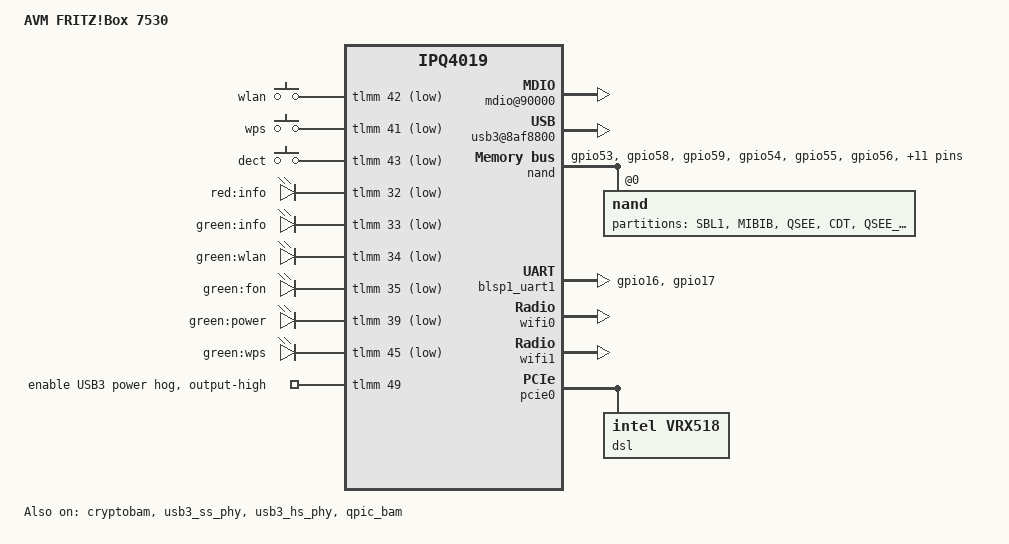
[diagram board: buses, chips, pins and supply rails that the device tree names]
// SPDX-License-Identifier: GPL-2.0-or-later OR MIT

#include "qcom-ipq4019.dtsi"
#include <dt-bindings/gpio/gpio.h>
#include <dt-bindings/input/input.h>
#include <dt-bindings/soc/qcom,tcsr.h>

/ {
	model = "AVM FRITZ!Box 7530";
	compatible = "avm,fritzbox-7530";

	aliases {
		led-boot = &power_green;
		led-failsafe = &info_red;
		led-running = &power_green;
		led-upgrade = &info_green;
	};

	soc {
		rng@22000 {
			status = "okay";
		};

		mdio@90000 {
			status = "okay";
		};

		ess-psgmii@98000 {
			status = "okay";
		};

		tcsr@1949000 {
			compatible = "qcom,tcsr";
			reg = <0x1949000 0x100>;
			qcom,wifi_glb_cfg = <TCSR_WIFI_GLB_CFG>;
		};

		tcsr@194b000 {
			compatible = "qcom,tcsr";
			reg = <0x194b000 0x100>;
			qcom,usb-hsphy-mode-select = <TCSR_USB_HSPHY_HOST_MODE>;
		};

		ess_tcsr@1953000 {
			compatible = "qcom,tcsr";
			reg = <0x1953000 0x1000>;
			qcom,ess-interface-select = <TCSR_ESS_PSGMII>;
		};

		tcsr@1957000 {
			compatible = "qcom,tcsr";
			reg = <0x1957000 0x100>;
			qcom,wifi_noc_memtype_m0_m2 = <TCSR_WIFI_NOC_MEMTYPE_M0_M2>;
		};

		usb3@8af8800 {
			status = "okay";
		};

		crypto@8e3a000 {
			status = "okay";
		};

		watchdog@b017000 {
			status = "okay";
		};

		ess-switch@c000000 {
			status = "okay";
		};

		edma@c080000 {
			status = "okay";
			qcom,num_gmac = <1>;
		};
	};

	keys {
		compatible = "gpio-keys";

		wlan {
			label = "wlan";
			gpios = <&tlmm 42 GPIO_ACTIVE_LOW>;
			linux,code = <KEY_RFKILL>;
		};

		wps {
			label = "wps";
			gpios = <&tlmm 41 GPIO_ACTIVE_LOW>;
			linux,code = <KEY_WPS_BUTTON>;
		};

		dect {
			label = "dect";
			gpios = <&tlmm 43 GPIO_ACTIVE_LOW>;
			linux,code = <KEY_PHONE>;
		};
	};

	leds {
		compatible = "gpio-leds";

		info_red: info_red {
			label = "red:info";
			gpios = <&tlmm 32 GPIO_ACTIVE_LOW>;
		};

		info_green: info {
			label = "green:info";
			gpios = <&tlmm 33 GPIO_ACTIVE_LOW>;
		};

		wlan {
			label = "green:wlan";
			gpios = <&tlmm 34 GPIO_ACTIVE_LOW>;
		};

		fon {
			label = "green:fon";
			gpios = <&tlmm 35 GPIO_ACTIVE_LOW>;
		};

		power_green: power {
			label = "green:power";
			gpios = <&tlmm 39 GPIO_ACTIVE_LOW>;
		};

		wps {
			label = "green:wps";
			gpios = <&tlmm 45 GPIO_ACTIVE_LOW>;
		};
	};
};

&tlmm {
	serial_0_pins: serial_pinmux {
		mux {
			pins = "gpio16", "gpio17";
			function = "blsp_uart0";
			bias-disable;
		};
	};

	nand_pins: nand_pins {
		pullups {
			pins = "gpio53", "gpio58", "gpio59";
			function = "qpic";
			bias-pull-up;
		};

		pulldowns {
			pins = "gpio54", "gpio55", "gpio56",
				"gpio57", "gpio60", "gpio61",
				"gpio62", "gpio63", "gpio64",
				"gpio65", "gpio66", "gpio67",
				"gpio68", "gpio69";
			function = "qpic";
			bias-pull-down;
		};
	};

	usb-power {
		line-name = "enable USB3 power";
		gpios = <49 GPIO_ACTIVE_HIGH>;
		gpio-hog;
		output-high;
	};
};

&nand {
	pinctrl-0 = <&nand_pins>;
	pinctrl-names = "default";
	status = "okay";

	nand@0 {
		/delete-property/ nand-ecc-strength;
		/delete-property/ nand-ecc-step-size;

		partitions {
			compatible = "fixed-partitions";
			#address-cells = <1>;
			#size-cells = <1>;

			partition@0 {
				label = "SBL1";
				reg = <0x000000 0x80000>;
				read-only;
			};

			partition@80000 {
				label = "MIBIB";
				reg = <0x080000 0x80000>;
				read-only;
			};

			partition@100000 {
				label = "QSEE";
				reg = <0x100000 0x80000>;
				read-only;
			};

			partition@180000 {
				label = "CDT";
				reg = <0x180000 0x40000>;
				read-only;
			};

			partition@1c0000 {
				label = "QSEE_B";
				reg = <0x1c0000 0x80000>;
				read-only;
			};

			partition@240000 {
				label = "urlader0";
				reg = <0x240000 0x40000>;
				read-only;
			};

			partition@280000 {
				label = "urlader1";
				reg = <0x280000 0x40000>;
				read-only;
			};

			partition@2c0000 {
				label = "nand-tffs";
				reg = <0x2c0000 0x840000>;
				read-only;
			};

			partition@b00000 {
				/* 'kernel1' in AVM firmware */
				label = "uboot0";
				reg = <0xb00000 0x400000>;
			};

			partition@f00000 {
				/* 'kernel2' in AVM firmware */
				label = "uboot1";
				reg = <0xf00000 0x400000>;
			};

			partition@1300000 {
				label = "ubi";
				reg = <0x1300000 0x6d00000>;
			};
		};
	};
};

&cryptobam {
	status = "okay";
};

&blsp_dma {
	status = "okay";
};

&blsp1_uart1 {
	pinctrl-0 = <&serial_0_pins>;
	pinctrl-names = "default";
	status = "okay";
};

&usb3_ss_phy {
	status = "okay";
};

&usb3_hs_phy {
	status = "okay";
};

&qpic_bam {
	status = "okay";
};

&wifi0 {
	status = "okay";
	qcom,ath10k-calibration-variant = "AVM-FRITZBox-7530";
};

&wifi1 {
	status = "okay";
	qcom,ath10k-calibration-variant = "AVM-FRITZBox-7530";
};

&pcie0 {
	status = "okay";

	perst-gpio = <&tlmm 38 GPIO_ACTIVE_LOW>;
	wake-gpio = <&tlmm 50 GPIO_ACTIVE_LOW>;

	bridge@0,0 {
		reg = <0x00000000 0 0 0 0>;
		#address-cells = <3>;
		#size-cells = <2>;
		ranges;

		dsl@1,0 {
			compatible = "intel,vrx518";
			status = "okay";
			reg = <0x00010000 0 0 0 0>;
		};
	};
};
